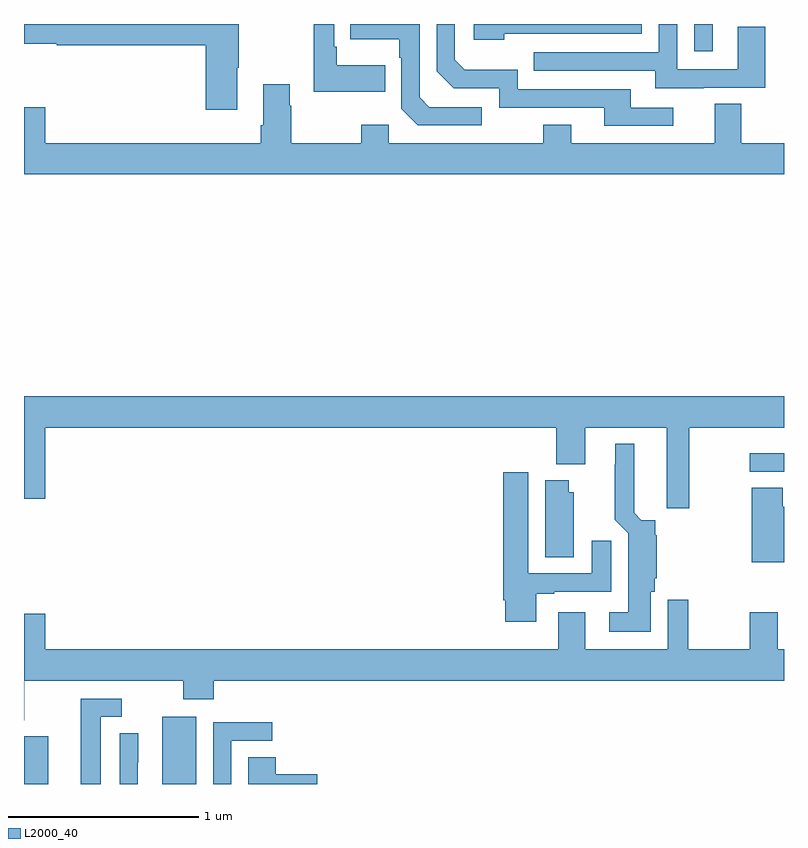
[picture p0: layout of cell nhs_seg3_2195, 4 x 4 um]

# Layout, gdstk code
import gdstk
lib = gdstk.Library(unit=1e-6, precision=1e-09)
def R(c, l, rs):  # rectangles x0, y0, x1, y1
    for r in rs: c.add(gdstk.rectangle(r[:2], r[2:], *l))
def P(c, l, *ps):  # polygons
    for p in ps: c.add(gdstk.Polygon(p, *l))
L2000_40 = (2000, 40)

nhs_seg3_2195 = lib.new_cell('nhs_seg3_2195')
R(nhs_seg3_2195, L2000_40, [(225,672.4,225.127,672.651), (225.728,672.4,225.907,672.754), (228.819,674.043,229,674.14), (228.528,676.257,228.625,676.4)])
P(nhs_seg3_2195, L2000_40, [(226.123,676.171),(226.131,676.171),(226.131,676.4),(225,676.4),(225,676.296),(225.172,676.296),(225.172,676.288),(225.956,676.288),(225.956,675.948),(226.123,675.948)],
  [(226.901,676.183),(226.645,676.183),(226.645,676.279),(226.632,676.279),(226.632,676.4),(226.524,676.4),(226.524,676.043),(226.901,676.043)],
  [(228.577,676.065),(228.901,676.065),(228.901,676.385),(228.756,676.385),(228.756,676.161),(228.438,676.161),(228.438,676.4),(228.342,676.4),(228.342,676.251),(227.683,676.251),(227.683,676.155),(228.323,676.155),(228.323,676.061),(228.577,676.061)],
  [(227.41,675.963),(227.133,675.963),(227.082,676.014),(227.082,676.4),(226.717,676.4),(226.717,676.319),(226.974,676.319),(226.974,676.223),(226.986,676.223),(226.986,675.954),(227.073,675.867),(227.41,675.867)],
  [(227.528,676.35),(228.252,676.35),(228.252,676.4),(227.367,676.4),(227.367,676.316),(227.528,676.316)],
  [(228.418,675.96),(228.193,675.96),(228.193,676.056),(227.598,676.056),(227.598,676.159),(227.321,676.159),(227.268,676.212),(227.268,676.4),(227.172,676.4),(227.172,676.152),(227.262,676.062),(227.502,676.062),(227.502,675.96),(228.053,675.96),(228.053,675.864),(228.418,675.864)],
  [(229,675.772),(228.775,675.772),(228.775,675.98),(228.635,675.98),(228.635,675.772),(227.881,675.772),(227.881,675.871),(227.734,675.871),(227.734,675.772),(226.92,675.772),(226.92,675.871),(226.774,675.871),(226.774,675.772),(226.407,675.772),(226.407,675.971),(226.399,675.971),(226.399,676.084),(226.259,676.084),(226.259,675.868),(226.247,675.868),(226.247,675.772),(225.112,675.772),(225.112,675.961),(225,675.961),(225,675.608),(229,675.608)],
  [(228.501,674.276),(229,674.276),(229,674.44),(225,674.44),(225,673.902),(225.112,673.902),(225.112,674.276),(227.801,674.276),(227.801,674.084),(227.953,674.084),(227.953,674.276),(228.383,674.276),(228.383,673.851),(228.501,673.851)],
  [(228.298,673.413),(228.32,673.413),(228.32,673.482),(228.329,673.482),(228.329,673.709),(228.323,673.715),(228.323,673.789),(228.249,673.789),(228.211,673.828),(228.211,674.191),(228.113,674.191),(228.113,674.081),(228.109,674.081),(228.109,673.79),(228.179,673.72),(228.179,673.303),(228.081,673.303),(228.081,673.202),(228.298,673.202)],
  [(227.695,673.401),(227.791,673.401),(227.791,673.413),(228.091,673.413),(228.091,673.681),(227.987,673.681),(227.987,673.509),(227.653,673.509),(227.653,674.041),(227.522,674.041),(227.522,673.366),(227.534,673.366),(227.534,673.254),(227.695,673.254)],
  [(227.893,673.935),(227.866,673.935),(227.866,673.999),(227.744,673.999),(227.744,673.594),(227.893,673.594)],
  [(229,673.86),(228.994,673.86),(228.994,673.958),(228.829,673.958),(228.829,673.568),(229,673.568)],
  [(225.001,672.944),(225.838,672.944),(225.838,672.845),(225.998,672.845),(225.998,672.944),(229,672.944),(229,673.108),(228.967,673.108),(228.967,673.303),(228.82,673.303),(228.82,673.108),(228.496,673.108),(228.496,673.369),(228.388,673.369),(228.388,673.108),(227.953,673.108),(227.953,673.303),(227.813,673.303),(227.813,673.108),(225.112,673.108),(225.112,673.297),(225,673.297),(225,672.736),(225.001,672.736)],
  [(225.403,672.753),(225.514,672.753),(225.514,672.849),(225.299,672.849),(225.299,672.4),(225.403,672.4)],
  [(226.092,672.627),(226.306,672.627),(226.306,672.726),(225.996,672.726),(225.996,672.4),(226.092,672.4)],
  [(225.599,672.514),(225.6,672.514),(225.6,672.668),(225.504,672.668),(225.504,672.4),(225.599,672.4)],
  [(226.543,672.452),(226.325,672.452),(226.325,672.542),(226.181,672.542),(226.181,672.4),(226.543,672.4)])

lib.write_gds('nhs_seg3_2195.gds')
